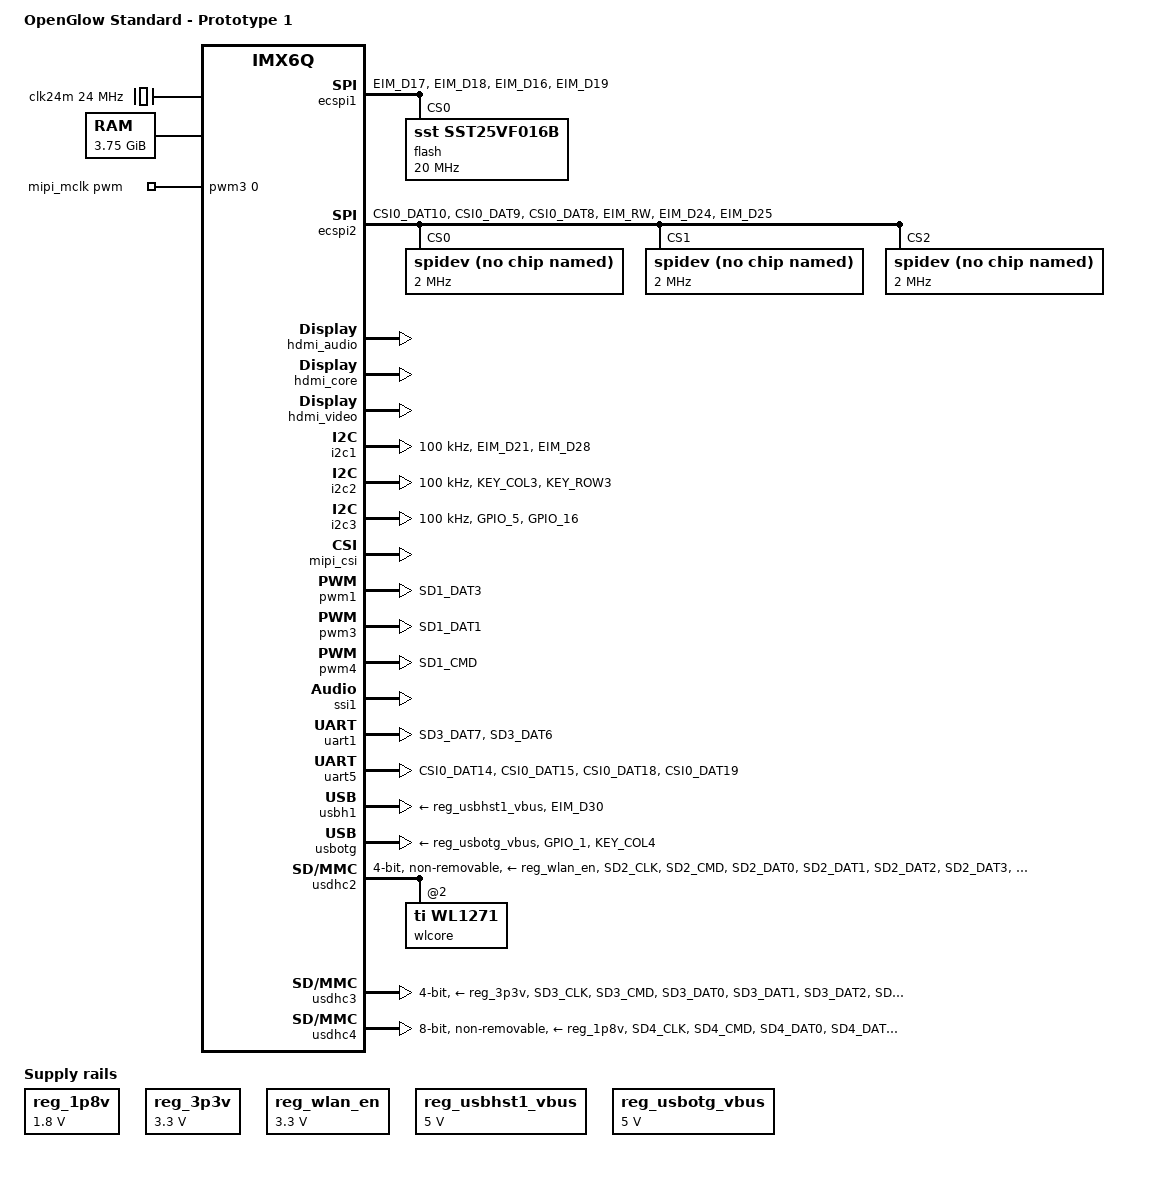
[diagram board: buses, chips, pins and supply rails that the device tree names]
/*
 * Copyright 2018 Scott Wiederhold <s.e.wiederhold@gmail.com>
 * Copyright 2012 Freescale Semiconductor, Inc.
 * Copyright 2011 Linaro Ltd.
 *
 * The code contained herein is licensed under the GNU General Public
 * License. You may obtain a copy of the GNU General Public License
 * Version 2 or later at the following locations:
 *
 * http://www.opensource.org/licenses/gpl-license.html
 * http://www.gnu.org/copyleft/gpl.html
 */

/dts-v1/;

#include <dt-bindings/gpio/gpio.h>
#include <dt-bindings/input/input.h>
#include <dt-bindings/interrupt-controller/irq.h>
#include "imx6q.dtsi"

/ {
	model = "OpenGlow Standard - Prototype 1";
	compatible = "openglow,openglow_std_p1", "fsl,imx6q";
};

&iomuxc {
	pinctrl-names = "default";
	pinctrl-0 = <&pinctrl_hog>;

	iomuxc_openglow_std: iomuxc-openglow-stdgrp {
		status = "okay";
	};
};

&iomuxc_openglow_std {
	pinctrl_bt_rfkill: bt-rfkillgrp {
		fsl,pins = <
#define GP_BT_RFKILL_RESET	<&gpio6 16 GPIO_ACTIVE_LOW>
			MX6QDL_PAD_NANDF_CS3__GPIO6_IO16	0x030b0
		>;
	};

	/* SOM on-board Serial Flash */
	pinctrl_ecspi1: ecspi1grp {
		fsl,pins = <
			MX6QDL_PAD_EIM_D17__ECSPI1_MISO		0x100b1
			MX6QDL_PAD_EIM_D18__ECSPI1_MOSI		0x100b1
			MX6QDL_PAD_EIM_D16__ECSPI1_SCLK		0x000b1
#define GP_ECSPI1_NOR_CS	<&gpio3 19 GPIO_ACTIVE_LOW>
			MX6QDL_PAD_EIM_D19__GPIO3_IO19		0x0b0b1
		>;
	};

	/* Stepper Drivers SPI Bus */
	pinctrl_ecspi2: ecspi2grp {
		fsl,pins = <
			MX6QDL_PAD_CSI0_DAT10__ECSPI2_MISO	0x100b1
			MX6QDL_PAD_CSI0_DAT9__ECSPI2_MOSI	0x100b1
			MX6QDL_PAD_CSI0_DAT8__ECSPI2_SCLK	0x000b1
			MX6QDL_PAD_EIM_RW__ECSPI2_SS0		0x0b0b1 /* X-Stepper */
			MX6QDL_PAD_EIM_D24__ECSPI2_SS2		0x0b0b1 /* Y1-Stepper */
			MX6QDL_PAD_EIM_D25__ECSPI2_SS3		0x0b0b1 /* Y2-Stepper */
		>;
	};
	pinctrl_ecspi2_cs0: ecspi2_cs0grp {
		fsl,pins = <
#define GP_SPI_CS0	<&gpio2 26 0>
			MX6QDL_PAD_EIM_RW__GPIO2_IO26		0x0 /* X-Stepper */
		>;
	};
	pinctrl_ecspi2_cs1: ecspi2_cs1grp {
		fsl,pins = <
#define GP_SPI_CS1	<&gpio3 24 0>
			MX6QDL_PAD_EIM_D24__GPIO3_IO24		0x0 /* Y1-Stepper */
		>;
	};
	pinctrl_ecspi2_cs2: ecspi2_cs2grp {
		fsl,pins = <
#define GP_SPI_CS2	<&gpio3 25 0>
			MX6QDL_PAD_EIM_D25__GPIO3_IO25		0x0 /* Y2-Stepper */
		>;
	};

	/* Not sure what this if for, of if it is even needed */
	pinctrl_hog: hoggrp {
		fsl,pins = <
#define GP_HOG_NC	<&gpio7 1 GPIO_ACTIVE_LOW>
			MX6QDL_PAD_SD3_DAT4__GPIO7_IO01		0x1b0b0
		>;
	};

	/* PIC I2C Bus */
	pinctrl_i2c1: i2c1grp {
		fsl,pins = <
			MX6QDL_PAD_EIM_D21__I2C1_SCL		0x4001b8b1
			MX6QDL_PAD_EIM_D28__I2C1_SDA		0x4001b8b1
		>;
	};

	/* Interconnect PCB Bus */
	pinctrl_i2c2: i2c2grp {
		fsl,pins = <
			MX6QDL_PAD_KEY_COL3__I2C2_SCL		0x4001b8b1
			MX6QDL_PAD_KEY_ROW3__I2C2_SDA		0x4001b8b1
		>;
	};

	/* Lid PCB Bus */
	pinctrl_i2c3: i2c3grp {
		fsl,pins = <
			MX6QDL_PAD_GPIO_5__I2C3_SCL		0x4001b8b1
			MX6QDL_PAD_GPIO_16__I2C3_SDA		0x4001b8b1
		>;
	};

	/* EXH_FAN_PWM */
	pinctrl_pwm1: pwm1grp {
		fsl,pins = <
			MX6QDL_PAD_SD1_DAT3__PWM1_OUT		0x030b1
		>;
	};

	/* HV_PWM */
	pinctrl_pwm3: pwm3grp {
		fsl,pins = <
			MX6QDL_PAD_SD1_DAT1__PWM3_OUT		0x030b1
		>;
	};

	/* INTK_FAN_PWM */
	pinctrl_pwm4: pwm4grp {
		fsl,pins = <
			MX6QDL_PAD_SD1_CMD__PWM4_OUT		0x030b1
		>;
	};

	/* WL_EN */
	pinctrl_reg_wlan_en: reg-wlan-engrp {
		fsl,pins = <
#define GP_REG_WLAN_EN	<&gpio6 15 GPIO_ACTIVE_HIGH>
			MX6QDL_PAD_NANDF_CS2__GPIO6_IO15	0x030b0
		>;
	};

	/* UART1 - USB Console TTYMXC0 */
	pinctrl_uart1: uart1grp {
		fsl,pins = <
			MX6QDL_PAD_SD3_DAT7__UART1_TX_DATA	0x1b0b1
			MX6QDL_PAD_SD3_DAT6__UART1_RX_DATA	0x1b0b1
		>;
	};

	/* UART5 - Bluetooth */
	pinctrl_uart5: uart5grp {
		fsl,pins = <
			MX6QDL_PAD_CSI0_DAT14__UART5_TX_DATA	0x1b0b1
			MX6QDL_PAD_CSI0_DAT15__UART5_RX_DATA	0x1b0b1
			MX6QDL_PAD_CSI0_DAT18__UART5_CTS_B		0x1b0b1
			MX6QDL_PAD_CSI0_DAT19__UART5_RTS_B	0x1b0b1
		>;
	};

	/* USB HOST 1 */
	pinctrl_usbhst1: usbhst1grp {
		fsl,pins = <
			MX6QDL_PAD_EIM_D30__USB_H1_OC		0x1b0b0 /* USB_HOST_OC */
		>;
	};
	pinctrl_reg_usbhst1_vbus: reg-usbhst1-vbusgrp {
		fsl,pins = <
#define GP_REG_USBHST1	<&gpio1 0 GPIO_ACTIVE_HIGH>
			MX6QDL_PAD_GPIO_0__GPIO1_IO00		0x030b0
		>;
	};
	/* USB OTG */
	pinctrl_usbotg: usbotggrp {
		fsl,pins = <
			MX6QDL_PAD_GPIO_1__USB_OTG_ID		0x17059
			MX6QDL_PAD_KEY_COL4__USB_OTG_OC		0x1b0b0
		>;
	};
	pinctrl_reg_usbotg_vbus: reg-usbotg-vbusgrp {
		fsl,pins = <
#define GP_REG_USBOTG	<&gpio3 22 GPIO_ACTIVE_HIGH>
			MX6QDL_PAD_EIM_D22__GPIO3_IO22		0x030b0
		>;
	};

	/* uSDHC2 - Wireless module */
	pinctrl_usdhc2: usdhc2grp {
		fsl,pins = <
			MX6QDL_PAD_SD2_CLK__SD2_CLK		0x10071
			MX6QDL_PAD_SD2_CMD__SD2_CMD		0x17071
			MX6QDL_PAD_SD2_DAT0__SD2_DATA0		0x17071
			MX6QDL_PAD_SD2_DAT1__SD2_DATA1		0x17071
			MX6QDL_PAD_SD2_DAT2__SD2_DATA2		0x17071
			MX6QDL_PAD_SD2_DAT3__SD2_DATA3		0x17071
			MX6QDL_PAD_SD1_CLK__OSC32K_32K_OUT	0x000b0		/* slow clock */
#define GPIRQ_WL1271	<&gpio6 14 IRQ_TYPE_LEVEL_HIGH>
			MX6QDL_PAD_NANDF_CS1__GPIO6_IO14	0x100b0
		>;
	};

	pinctrl_usdhc2_100mhz: usdhc2grp-100mhz {
		fsl,pins = <
			MX6QDL_PAD_SD2_CMD__SD2_CMD		0x170B9
			MX6QDL_PAD_SD2_CLK__SD2_CLK		0x100B9
			MX6QDL_PAD_SD2_DAT0__SD2_DATA0		0x170B9
			MX6QDL_PAD_SD2_DAT1__SD2_DATA1 		0x170B9
			MX6QDL_PAD_SD2_DAT2__SD2_DATA2 		0x170B9
			MX6QDL_PAD_SD2_DAT3__SD2_DATA3 		0x170B9
		>;
	};

	pinctrl_usdhc2_200mhz: usdhc2grp-200mhz {
		fsl,pins = <
			MX6QDL_PAD_SD2_CMD__SD2_CMD		0x170F9
			MX6QDL_PAD_SD2_CLK__SD2_CLK 		0x100F9
			MX6QDL_PAD_SD2_DAT0__SD2_DATA0		0x170F9
			MX6QDL_PAD_SD2_DAT1__SD2_DATA1 		0x170F9
			MX6QDL_PAD_SD2_DAT2__SD2_DATA2 		0x170F9
			MX6QDL_PAD_SD2_DAT3__SD2_DATA3 		0x170F9
		>;
	};

	/* uSDHC3 - /dev/mmcblk0 - SD Card Slot */
	pinctrl_usdhc3: usdhc3grp {
		fsl,pins = <
			MX6QDL_PAD_SD3_CLK__SD3_CLK		0x10071
			MX6QDL_PAD_SD3_CMD__SD3_CMD		0x17071
			MX6QDL_PAD_SD3_DAT0__SD3_DATA0		0x17071
			MX6QDL_PAD_SD3_DAT1__SD3_DATA1		0x17071
			MX6QDL_PAD_SD3_DAT2__SD3_DATA2		0x17071
			MX6QDL_PAD_SD3_DAT3__SD3_DATA3		0x17071
#define GP_USDHC3_CD	<&gpio7 0 GPIO_ACTIVE_LOW>
			MX6QDL_PAD_SD3_DAT5__GPIO7_IO00		0x1b0b0
		>;
	};
	
	/* uSDHC4 - /dev/mmcblk1 - SOM on-board MMC */
	pinctrl_usdhc4: usdhc4grp {
		fsl,pins = <
			MX6QDL_PAD_SD4_CLK__SD4_CLK		0x10059
			MX6QDL_PAD_SD4_CMD__SD4_CMD		0x17059
			MX6QDL_PAD_SD4_DAT0__SD4_DATA0		0x17059
			MX6QDL_PAD_SD4_DAT1__SD4_DATA1		0x17059
			MX6QDL_PAD_SD4_DAT2__SD4_DATA2		0x17059
			MX6QDL_PAD_SD4_DAT3__SD4_DATA3		0x17059
			MX6QDL_PAD_SD4_DAT4__SD4_DATA4		0x17059
			MX6QDL_PAD_SD4_DAT5__SD4_DATA5		0x17059
			MX6QDL_PAD_SD4_DAT6__SD4_DATA6		0x17059
			MX6QDL_PAD_SD4_DAT7__SD4_DATA7		0x17059
#define GP_EMMC_RESET	<&gpio2 0 GPIO_ACTIVE_LOW>
			MX6QDL_PAD_NANDF_D0__GPIO2_IO00		0x1b0b0
		>;
	};
	
	/* GPIO - Control */
	pinctrl_gpio_control: gpio-controlgrp {
		fsl,pins = <
#define GP_CTRL_BEAM_SENS	<&gpio3 3 GPIO_ACTIVE_HIGH>
			MX6QDL_PAD_EIM_DA3__GPIO3_IO03		0x030b0 /* BEAM_SENS */
#define GP_CTRL_HEAD		<&gpio3 1 GPIO_ACTIVE_HIGH>
			MX6QDL_PAD_EIM_DA1__GPIO3_IO01		0x030b0 /* HEAD_??? */
#define GP_CTRL_LASER_EN	<&gpio3 29 GPIO_ACTIVE_HIGH>
			MX6QDL_PAD_EIM_D29__GPIO3_IO29		0x030b0 /* LASER_EN */
#define GP_CTRL_BTN			<&gpio3 31 GPIO_ACTIVE_LOW>
			MX6QDL_PAD_EIM_D31__GPIO3_IO31		0x1b0b0 /* nBUTTON */
#define GP_CTRL_DOORS		<&gpio3 10 GPIO_ACTIVE_LOW>
			MX6QDL_PAD_EIM_DA10__GPIO3_IO10		0x1b0b0 /* nDOORS_OK */
#define GP_CTRL_ILOCK		<&gpio3 11 GPIO_ACTIVE_LOW>
			MX6QDL_PAD_EIM_DA11__GPIO3_IO11		0x1b0b0 /* nINTLOCK_OK */
#define GP_CTRL_LID1		<&gpio3 9 GPIO_ACTIVE_LOW>
			MX6QDL_PAD_EIM_DA9__GPIO3_IO09		0x1b0b0 /* nLID_SW1 */
#define GP_CTRL_LID2		<&gpio2 7 GPIO_ACTIVE_LOW>
			MX6QDL_PAD_NANDF_D7__GPIO2_IO07		0x1b0b0 /* nLID_SW2 */
#define GP_CTRL_SAFE_FIRE	<&gpio3 0 GPIO_ACTIVE_LOW>
			MX6QDL_PAD_EIM_DA0__GPIO3_IO00		0x1b0b0 /* nSAFE_TO_FIRE */
#define GP_CTRL_RUN_PRGM	<&gpio3 4 GPIO_ACTIVE_HIGH>
			MX6QDL_PAD_EIM_DA4__GPIO3_IO04		0x030b0 /* RUN_PRGM */
		>;
	};

	/* GPIO - Misc */
	pinctrl_gpio_misc: gpio-miscgrp {
		fsl,pins = <
#define GP_MISC_TP90		<&gpio5 19 GPIO_ACTIVE_HIGH>
			MX6QDL_PAD_CSI0_MCLK__GPIO5_IO19		0x030b0 /* TP90 */
#define GP_MISC_TP91		<&gpio5 20 GPIO_ACTIVE_HIGH>
			MX6QDL_PAD_CSI0_DATA_EN__GPIO5_IO20		0x030b0 /* TP91 */
		>;
	};

	/* GPIO - Power */
	pinctrl_gpio_power: gpio-powergrp {
		fsl,pins = <
#define GP_PWR_12V_EN		<&gpio2 6 GPIO_ACTIVE_HIGH>
			MX6QDL_PAD_NANDF_D6__GPIO2_IO06		0x030b0 /* 12VDC_EN */
#define GP_PWR_12V_OK		<&gpio1 9 GPIO_ACTIVE_HIGH>
			MX6QDL_PAD_GPIO_9__GPIO1_IO09		0x030b0 /* 12VDC_OK */
#define GP_PWR_40V_EN		<&gpio2 3 GPIO_ACTIVE_HIGH>
			MX6QDL_PAD_NANDF_D3__GPIO2_IO03		0x030b0 /* 40VDC_EN */
#define GP_PWR_40V_OK		<&gpio1 2 GPIO_ACTIVE_HIGH>
			MX6QDL_PAD_GPIO_2__GPIO1_IO02		0x030b0 /* 40VDC_OK */
#define GP_PWR_HV_PFC_STOP	<&gpio2 1 GPIO_ACTIVE_HIGH>
			MX6QDL_PAD_NANDF_D1__GPIO2_IO01		0x030b0 /* HV_PFC_STOP - Unknown Function */
#define GP_PWR_HV_LINE		<&gpio2 4 GPIO_ACTIVE_HIGH>
			MX6QDL_PAD_NANDF_D4__GPIO2_IO04		0x030b0 /* HV_LINE_??? - Unknown Function */
		>;
	};
	
	/* GPIO - STEP/DIR */
	pinctrl_gpio_stepdir: gpio-stepdirgrp {
		fsl,pins = <
#define GP_STPD_XY_EN		<&gpio5 31 GPIO_ACTIVE_HIGH>
			MX6QDL_PAD_CSI0_DAT13__GPIO5_IO31	0x030b0 /* XY_STEP_EN */
#define GP_STPD_X_DIR		<&gpio5 22 GPIO_ACTIVE_HIGH>
			MX6QDL_PAD_CSI0_DAT4__GPIO5_IO22	0x030b0 /* X_DIR */
#define GP_STPD_X_STEP		<&gpio5 30 GPIO_ACTIVE_HIGH>
			MX6QDL_PAD_CSI0_DAT12__GPIO5_IO30	0x030b0 /* X_STEP */
#define GP_STPD_Y1_DIR		<&gpio5 18 GPIO_ACTIVE_HIGH>
			MX6QDL_PAD_CSI0_PIXCLK__GPIO5_IO18	0x030b0 /* Y1_DIR */
#define GP_STPD_Y1_STEP		<&gpio5 21 GPIO_ACTIVE_HIGH>
			MX6QDL_PAD_CSI0_VSYNC__GPIO5_IO21	0x030b0 /* Y1_STEP */
#define GP_STPD_Y2_DIR		<&gpio7 12 GPIO_ACTIVE_HIGH>
			MX6QDL_PAD_GPIO_17__GPIO7_IO12		0x030b0 /* Y2_DIR */
#define GP_STPD_Y2_STEP		<&gpio5 23 GPIO_ACTIVE_HIGH>
			MX6QDL_PAD_CSI0_DAT5__GPIO5_IO23	0x030b0 /* Y2_STEP */
#define GP_STPD_Z_DIR		<&gpio1 3 GPIO_ACTIVE_HIGH>
			MX6QDL_PAD_GPIO_3__GPIO1_IO03		0x030b0 /* Z_DIR */
#define GP_STPD_Z_STEP		<&gpio7 13 GPIO_ACTIVE_HIGH>
			MX6QDL_PAD_GPIO_18__GPIO7_IO13		0x030b0 /* Z_STEP */
		>;
	};

	/* GPIO - Thermal */
	pinctrl_gpio_thermal: gpio-thermalgrp {
		fsl,pins = <
#define GP_THRM_EXH_FAN1		<&gpio3 20 GPIO_ACTIVE_HIGH>
			MX6QDL_PAD_EIM_D20__GPIO3_IO20		0x030b0 /* EXH_FAN_SENS */
#define GP_THRM_INTK_FAN1		<&gpio6 11 GPIO_ACTIVE_HIGH>
			MX6QDL_PAD_NANDF_CS0__GPIO6_IO11	0x030b0 /* INTK_FAN1_SENS */
#define GP_THRM_INTK_FAN2		<&gpio2 2 GPIO_ACTIVE_HIGH>
			MX6QDL_PAD_NANDF_D2__GPIO2_IO02		0x030b0 /* INTK_FAN2_SENS */
#define GP_THRM_TEC_EN			<&gpio3 5 GPIO_ACTIVE_HIGH>
			MX6QDL_PAD_EIM_DA5__GPIO3_IO05		0x030b0 /* TEC_EN */
#define GP_THRM_WTR_PMP_EN		<&gpio2 23 GPIO_ACTIVE_HIGH>
			MX6QDL_PAD_EIM_CS0__GPIO2_IO23		0x030b0 /* WTR_PMP_EN */
#define GP_THRM_WTR_SENS_PWR	<&gpio2 25 GPIO_ACTIVE_HIGH>
			MX6QDL_PAD_EIM_OE__GPIO2_IO25		0x030b0 /* WTR_SENS_PWR */
		>;
	};

};

/ {
	aliases {
		fb_hdmi = &fb_hdmi;
		mmc0 = &usdhc3;
		mmc1 = &usdhc4;
		mmc2 = &usdhc2;
		mxcfb3 = &fb_hdmi;
	};

	bt_rfkill {
		compatible = "net,rfkill-gpio";
		pinctrl-names = "default";
		pinctrl-0 = <&pinctrl_bt_rfkill>;
		name = "bt_rfkill";
		type = <2>;	/* bluetooth */
		reset-gpios = GP_BT_RFKILL_RESET;
	};

	clocks {
		clk24m: clk24m {
			compatible = "fixed-clock";
			#clock-cells = <0>;
			clock-frequency = <24000000>;
		};
	};

	fb_hdmi: fb@3 {
		compatible = "fsl,mxc_sdc_fb";
		disp_dev = "hdmi";
		interface_pix_fmt = "RGB24";
		mode_str ="1280x720M@60";
		default_bpp = <32>;
		int_clk = <0>;
		late_init = <0>;
		status = "disabled";
	};

	memory {
		reg = <0x10000000 0xeffffc00>;
	};

	mipi_mclk: mipi_mclk {
		compatible = "pwm-clock";
		#clock-cells = <0>;
		clock-frequency = <22000000>;
		clock-output-names = "mipi_mclk";
		pwms = <&pwm3 0 45>; /* 1 / 45 ns = 22 MHz */
	};

	regulators {
		compatible = "simple-bus";
		#address-cells = <1>;
		#size-cells = <0>;

		reg_1p8v: regulator@0 {
			compatible = "regulator-fixed";
			reg = <0>;
			regulator-name = "1P8V";
			regulator-min-microvolt = <1800000>;
			regulator-max-microvolt = <1800000>;
			regulator-always-on;
		};

		reg_3p3v: regulator@2 {
			compatible = "regulator-fixed";
			reg = <2>;
			regulator-name = "3P3V";
			regulator-min-microvolt = <3300000>;
			regulator-max-microvolt = <3300000>;
			regulator-always-on;
		};

		reg_wlan_en: regulator@3 {
			compatible = "regulator-fixed";
			reg = <3>;
			pinctrl-names = "default";
			pinctrl-0 = <&pinctrl_reg_wlan_en>;
			regulator-name = "wlan-en";
			regulator-min-microvolt = <3300000>;
			regulator-max-microvolt = <3300000>;
			gpio = GP_REG_WLAN_EN;
			startup-delay-us = <70000>;
			enable-active-high;
		};
		
		reg_usbhst1_vbus: regulator@4 {
			compatible = "regulator-fixed";
			reg = <4>;
			pinctrl-names = "default";
			pinctrl-0 = <&pinctrl_reg_usbhst1_vbus>;
			regulator-name = "usb_host_vbus";
			regulator-min-microvolt = <5000000>;
			regulator-max-microvolt = <5000000>;
			gpio = GP_REG_USBHST1;
			enable-active-high;
		};
		
		reg_usbotg_vbus: regulator@5 {
			compatible = "regulator-fixed";
			reg = <5>;
			pinctrl-names = "default";
			pinctrl-0 = <&pinctrl_reg_usbotg_vbus>;
			regulator-name = "usb_otg_vbus";
			regulator-min-microvolt = <5000000>;
			regulator-max-microvolt = <5000000>;
			gpio = GP_REG_USBOTG;
			enable-active-high;
		};


	};

	v4l2_cap_0 {
		compatible = "fsl,imx6q-v4l2-capture";
		ipu_id = <0>;
		csi_id = <1>;
		mclk_source = <0>;
		mipi_camera = <1>;
		default_input = <1>;
		status = "okay";
	};

	v4l2_out {
		compatible = "fsl,mxc_v4l2_output";
		status = "okay";
	};
};

&ecspi1 {
	pinctrl-names = "default";
	pinctrl-0 = <&pinctrl_ecspi1>;
	fsl,spi-num-chipselects = <1>;
	cs-gpios = GP_ECSPI1_NOR_CS;
	status = "okay";

	flash: m25p80@0 {
		compatible = "sst,sst25vf016b";
		spi-max-frequency = <20000000>;
		reg = <0>;
		#address-cells = <1>;
		#size-cells = <1>;
		mtd@00000000 {
			label = "U-Boot";
			reg = <0x0 0xC0000>;
		};

		mtd@000C0000 {
			label = "env";
			reg = <0xC0000 0x2000>;
		};
		mtd@000C2000 {
			label = "splash";
			reg = <0xC2000 0x13e000>;
		};
	};
};

&ecspi2 {
	pinctrl-names = "default";
	pinctrl-0 = <&pinctrl_ecspi2>;
	fsl,spi-num-chipselects = <3>;
	cs-gpios = GP_SPI_CS0, GP_SPI_CS1, GP_SPI_CS2;
	status = "okay";

	spidev@0 {
		compatible = "spidev";
		spi-max-frequency = <2000000>;
		reg = <0>;
	};
	spidev@1 {
		compatible = "spidev";
		spi-max-frequency = <2000000>;
		reg = <1>;
	};
	spidev@2 {
		compatible = "spidev";
		spi-max-frequency = <2000000>;
		reg = <2>;
	};
};

&hdmi_audio {
	status = "okay";
};

&hdmi_core {
	ipu_id = <1>;
	disp_id = <0>;
	status = "okay";
};

&hdmi_video {
	fsl,phy_reg_vlev = <0x0294>;
	fsl,phy_reg_cksymtx = <0x800d>;
	status = "okay";
};

&i2c1 {
	clock-frequency = <100000>;
	pinctrl-names = "default";
	pinctrl-0 = <&pinctrl_i2c1>;
	status = "okay";
};

&i2c2 {
	clock-frequency = <100000>;
	pinctrl-names = "default";
	pinctrl-0 = <&pinctrl_i2c2>;
	status = "okay";
};

&i2c3 {
	clock-frequency = <100000>;
	pinctrl-names = "default";
	pinctrl-0 = <&pinctrl_i2c3>;
	status = "okay";
};

&mipi_csi {
	lanes = <2>;
	status = "okay";
};

&pwm1 {
	pinctrl-names = "default";
	pinctrl-0 = <&pinctrl_pwm1>;
	status = "okay";
};

&pwm3 {
	pinctrl-names = "default";
	pinctrl-0 = <&pinctrl_pwm3>;
	status = "okay";
};

&pwm4 {
	pinctrl-names = "default";
	pinctrl-0 = <&pinctrl_pwm4>;
	status = "okay";
};

&ssi1 {
	fsl,mode = "i2s-slave";
	status = "okay";
};

&uart1 {
	pinctrl-names = "default";
	pinctrl-0 = <&pinctrl_uart1>;
	status = "okay";
};

&uart5 {
	pinctrl-names = "default";
	pinctrl-0 = <&pinctrl_uart5>;
	status = "okay";
};

&usbh1 {
	vbus-supply = <&reg_usbhst1_vbus>;
	pinctrl-names = "default";
	pinctrl-0 = <&pinctrl_usbhst1>;
	status = "okay";
};

&usbotg {
	vbus-supply = <&reg_usbotg_vbus>;
	pinctrl-names = "default";
	pinctrl-0 = <&pinctrl_usbotg>;
	status = "okay";
};

&usdhc2 {	/* uSDHC2, TiWi wl1271 */
	pinctrl-names = "default", "state_100mhz", "state_200mhz";
	pinctrl-0 = <&pinctrl_usdhc2>;
	pinctrl-1 = <&pinctrl_usdhc2_100mhz>;
	pinctrl-2 = <&pinctrl_usdhc2_200mhz>;
	bus-width = <4>;
	non-removable;
	vmmc-supply = <&reg_wlan_en>;
	vqmmc-1-8-v;
	cap-power-off-card;
	keep-power-in-suspend;
	status = "okay";

	#address-cells = <1>;
	#size-cells = <0>;
	wlcore: wlcore@2 {
		compatible = "ti,wl1271";
		interrupts-extended = GPIRQ_WL1271;
		reg = <2>;
		ref-clock-frequency = <38400000>;
	};
};

&usdhc3 {
	pinctrl-names = "default";
	pinctrl-0 = <&pinctrl_usdhc3>;
	bus-width = <4>;
	cd-gpios = GP_USDHC3_CD;
	vmmc-supply = <&reg_3p3v>;
	status = "okay";
};

&usdhc4 {
	pinctrl-names = "default";
	pinctrl-0 = <&pinctrl_usdhc4>;
	bus-width = <8>;
	non-removable;
	vqmmc-1-8-v;
	vmmc-supply = <&reg_1p8v>;
	keep-power-in-suspend;
	status = "okay";
};
